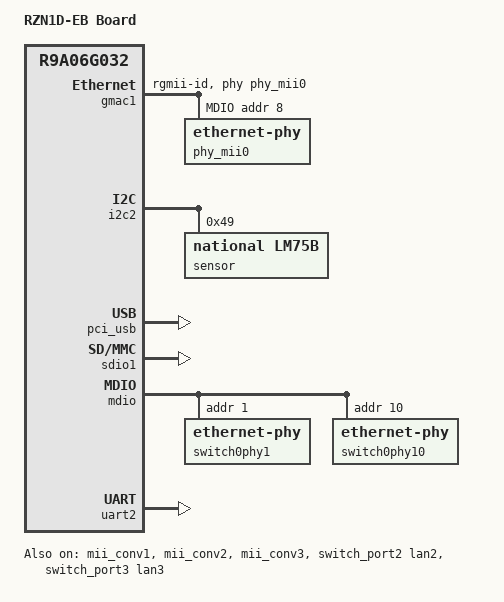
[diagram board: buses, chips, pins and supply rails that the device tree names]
// SPDX-License-Identifier: GPL-2.0
/*
 * Device Tree Source for the RZN1D-EB Board
 *
 * Copyright (C) 2023 Schneider-Electric
 *
 */

#include <dt-bindings/leds/common.h>
#include "r9a06g032-rzn1d400-db.dts"

/ {
	model = "RZN1D-EB Board";
	compatible = "renesas,rzn1d400-eb", "renesas,rzn1d400-db",
		     "renesas,r9a06g032";
};

&gmac1 {
	pinctrl-0 = <&pins_eth0>, <&pins_mdio0>;
	pinctrl-names = "default";

	status = "okay";
	phy-mode = "rgmii-id";
	phy-handle = <&phy_mii0>;

	mdio {
		#address-cells = <1>;
		#size-cells = <0>;
		compatible = "snps,dwmac-mdio";

		phy_mii0: ethernet-phy@8 {
			reg = <8>;

			leds {
				#address-cells = <1>;
				#size-cells = <0>;

				led@0 {
					reg = <0>;
					color = <LED_COLOR_ID_GREEN>;
					function = LED_FUNCTION_LAN;
					default-state = "keep";
				};

				led@1 {
					reg = <1>;
					color = <LED_COLOR_ID_ORANGE>;
					function = LED_FUNCTION_ACTIVITY;
					default-state = "keep";
				};
			};
		};
	};
};

&i2c2 {
	/* Sensors are different across revisions. All are LM75B compatible */
	sensor@49 {
		compatible = "national,lm75b";
		reg = <0x49>;
	};
};

&mii_conv1 {
	renesas,miic-input = <MIIC_GMAC1_PORT>;
	status = "okay";
};

&mii_conv2 {
	renesas,miic-input = <MIIC_SWITCH_PORTD>;
	status = "okay";
};

&mii_conv3 {
	renesas,miic-input = <MIIC_SWITCH_PORTC>;
	status = "okay";
};

&pci_usb {
	status = "okay";
};

&pinctrl {
	pins_eth0: pins-eth0 {
		pinmux = <RZN1_PINMUX(0, RZN1_FUNC_CLK_ETH_MII_RGMII_RMII)>,
			 <RZN1_PINMUX(1, RZN1_FUNC_CLK_ETH_MII_RGMII_RMII)>,
			 <RZN1_PINMUX(2, RZN1_FUNC_CLK_ETH_MII_RGMII_RMII)>,
			 <RZN1_PINMUX(3, RZN1_FUNC_CLK_ETH_MII_RGMII_RMII)>,
			 <RZN1_PINMUX(4, RZN1_FUNC_CLK_ETH_MII_RGMII_RMII)>,
			 <RZN1_PINMUX(5, RZN1_FUNC_CLK_ETH_MII_RGMII_RMII)>,
			 <RZN1_PINMUX(6, RZN1_FUNC_CLK_ETH_MII_RGMII_RMII)>,
			 <RZN1_PINMUX(7, RZN1_FUNC_CLK_ETH_MII_RGMII_RMII)>,
			 <RZN1_PINMUX(8, RZN1_FUNC_CLK_ETH_MII_RGMII_RMII)>,
			 <RZN1_PINMUX(9, RZN1_FUNC_CLK_ETH_MII_RGMII_RMII)>,
			 <RZN1_PINMUX(10, RZN1_FUNC_CLK_ETH_MII_RGMII_RMII)>,
			 <RZN1_PINMUX(11, RZN1_FUNC_CLK_ETH_MII_RGMII_RMII)>;
		drive-strength = <6>;
		bias-disable;
	};

	pins_eth1: pins-eth1 {
		pinmux = <RZN1_PINMUX(12, RZN1_FUNC_CLK_ETH_MII_RGMII_RMII)>,
			 <RZN1_PINMUX(13, RZN1_FUNC_CLK_ETH_MII_RGMII_RMII)>,
			 <RZN1_PINMUX(14, RZN1_FUNC_CLK_ETH_MII_RGMII_RMII)>,
			 <RZN1_PINMUX(15, RZN1_FUNC_CLK_ETH_MII_RGMII_RMII)>,
			 <RZN1_PINMUX(16, RZN1_FUNC_CLK_ETH_MII_RGMII_RMII)>,
			 <RZN1_PINMUX(17, RZN1_FUNC_CLK_ETH_MII_RGMII_RMII)>,
			 <RZN1_PINMUX(18, RZN1_FUNC_CLK_ETH_MII_RGMII_RMII)>,
			 <RZN1_PINMUX(19, RZN1_FUNC_CLK_ETH_MII_RGMII_RMII)>,
			 <RZN1_PINMUX(20, RZN1_FUNC_CLK_ETH_MII_RGMII_RMII)>,
			 <RZN1_PINMUX(21, RZN1_FUNC_CLK_ETH_MII_RGMII_RMII)>,
			 <RZN1_PINMUX(22, RZN1_FUNC_CLK_ETH_MII_RGMII_RMII)>,
			 <RZN1_PINMUX(23, RZN1_FUNC_CLK_ETH_MII_RGMII_RMII)>;
		drive-strength = <6>;
		bias-disable;
	};

	pins_eth2: pins-eth2 {
		pinmux = <RZN1_PINMUX(24, RZN1_FUNC_CLK_ETH_MII_RGMII_RMII)>,
			 <RZN1_PINMUX(25, RZN1_FUNC_CLK_ETH_MII_RGMII_RMII)>,
			 <RZN1_PINMUX(26, RZN1_FUNC_CLK_ETH_MII_RGMII_RMII)>,
			 <RZN1_PINMUX(27, RZN1_FUNC_CLK_ETH_MII_RGMII_RMII)>,
			 <RZN1_PINMUX(28, RZN1_FUNC_CLK_ETH_MII_RGMII_RMII)>,
			 <RZN1_PINMUX(29, RZN1_FUNC_CLK_ETH_MII_RGMII_RMII)>,
			 <RZN1_PINMUX(30, RZN1_FUNC_CLK_ETH_MII_RGMII_RMII)>,
			 <RZN1_PINMUX(31, RZN1_FUNC_CLK_ETH_MII_RGMII_RMII)>,
			 <RZN1_PINMUX(32, RZN1_FUNC_CLK_ETH_MII_RGMII_RMII)>,
			 <RZN1_PINMUX(33, RZN1_FUNC_CLK_ETH_MII_RGMII_RMII)>,
			 <RZN1_PINMUX(34, RZN1_FUNC_CLK_ETH_MII_RGMII_RMII)>,
			 <RZN1_PINMUX(35, RZN1_FUNC_CLK_ETH_MII_RGMII_RMII)>;
		drive-strength = <6>;
		bias-disable;
	};

	pins_mdio0: pins-mdio0 {
		pinmux = <RZN1_PINMUX(150, RZN1_FUNC_MDIO0_GMAC0)>,
			 <RZN1_PINMUX(151, RZN1_FUNC_MDIO0_GMAC0)>;
	};

	pins_sdio1: pins-sdio1 {
		pinmux = <RZN1_PINMUX(95, RZN1_FUNC_SDIO)>,
			 <RZN1_PINMUX(97, RZN1_FUNC_SDIO)>,
			 <RZN1_PINMUX(98, RZN1_FUNC_SDIO)>,
			 <RZN1_PINMUX(99, RZN1_FUNC_SDIO)>,
			 <RZN1_PINMUX(100, RZN1_FUNC_SDIO)>,
			 <RZN1_PINMUX(101, RZN1_FUNC_SDIO_E)>,
			 <RZN1_PINMUX(102, RZN1_FUNC_SDIO_E)>;
	};

	pins_sdio1_clk: pins-sdio1-clk {
		pinmux = <RZN1_PINMUX(96, RZN1_FUNC_SDIO)>;
		drive-strength = <12>;
	};

	pins_uart2: pins-uart2 {
		pinmux = <RZN1_PINMUX(105, RZN1_FUNC_UART2)>,
			 <RZN1_PINMUX(106, RZN1_FUNC_UART2)>,
			 <RZN1_PINMUX(107, RZN1_FUNC_UART2)>,
			 <RZN1_PINMUX(108, RZN1_FUNC_UART2)>;
		bias-disable;
	};
};

&sdio1 {
	pinctrl-0 = <&pins_sdio1>, <&pins_sdio1_clk>;
	pinctrl-names = "default";

	status = "okay";
};

&switch {
	pinctrl-0 = <&pins_eth1>, <&pins_eth2>, <&pins_eth3>, <&pins_eth4>,
		    <&pins_mdio1>;

	mdio {
		/* CN15 and CN16 switches must be configured in MDIO2 mode */
		switch0phy1: ethernet-phy@1 {
			reg = <1>;

			leds {
				#address-cells = <1>;
				#size-cells = <0>;

				led@0 {
					reg = <0>;
					color = <LED_COLOR_ID_GREEN>;
					function = LED_FUNCTION_LAN;
					default-state = "keep";
				};

				led@1 {
					reg = <1>;
					color = <LED_COLOR_ID_ORANGE>;
					function = LED_FUNCTION_ACTIVITY;
					default-state = "keep";
				};
			};
		};

		switch0phy10: ethernet-phy@10 {
			reg = <10>;

			leds {
				#address-cells = <1>;
				#size-cells = <0>;

				led@0 {
					reg = <0>;
					color = <LED_COLOR_ID_GREEN>;
					function = LED_FUNCTION_LAN;
					default-state = "keep";
				};

				led@1 {
					reg = <1>;
					color = <LED_COLOR_ID_ORANGE>;
					function = LED_FUNCTION_ACTIVITY;
					default-state = "keep";
				};
			};
		};
	};
};

&switch_port2 {
	label = "lan2";
	phy-mode = "rgmii-id";
	phy-handle = <&switch0phy10>;
	status = "okay";
};

&switch_port3 {
	label = "lan3";
	phy-mode = "rgmii-id";
	phy-handle = <&switch0phy1>;
	status = "okay";
};

&uart2 {
	pinctrl-0 = <&pins_uart2>;
	pinctrl-names = "default";
	status = "okay";
	uart-has-rtscts;
};
